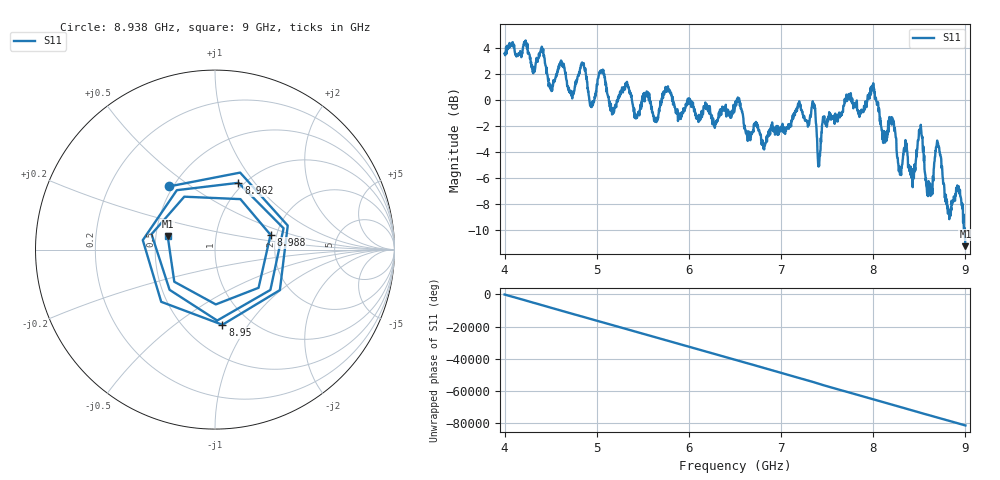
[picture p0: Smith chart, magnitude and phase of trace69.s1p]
! Created with skrf 1.8.0 (http://scikit-rf.org).
# Hz S RI R 50.0
!freq ReS11 ImS11
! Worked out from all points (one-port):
!   1601 points, 4 GHz to 9 GHz, reference 50 ohm
!   lowest |S11| = -11.2 dB at 9 GHz (marker M1), VSWR 1.76, Z = 28.9 + j4.71 ohm
!   |S11| at or under -10 dB: 8.983839 GHz to 8.985019 GHz (1.18 MHz wide, 0.0131 % of centre); 8.992115 GHz to end of sweep
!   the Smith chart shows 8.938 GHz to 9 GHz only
!   S11 on the Smith chart (normalised r, x): 8.938 GHz: 0.48, +0.41; 8.95 GHz: 0.75, -0.77; 8.962 GHz: 0.94, +0.83; 8.988 GHz: 1.86, +0.34; 9 GHz: 0.58, +0.09
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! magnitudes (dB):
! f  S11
! 4 GHz  3.6
! 4.406 GHz  4.0
! 4.503 GHz  0.7
! 4.625 GHz  2.7
! 4.725 GHz  0.3
! 5.25 GHz  0.4
! 5.875 GHz  -0.7
! 6.5 GHz  -0.5
! 6.812 GHz  -3.5
! 7.125 GHz  -1.2
! 7.35 GHz  -0.2
! 7.412 GHz  -5.1
! 7.75 GHz  0.2
! 7.997 GHz  0.9
! 8.119 GHz  -3.0
! 8.216 GHz  -1.6
! 8.284 GHz  -5.1
! 8.375 GHz  -4.4
! 8.438 GHz  -6.0
! 8.509 GHz  -2.3
! 8.603 GHz  -7.2
! 8.7 GHz  -3.5
! 8.816 GHz  -8.5
! 8.938 GHz  -7.2
! 8.95 GHz  -7.5
! 8.962 GHz  -8.1
! 8.988 GHz  -9.9
! 9 GHz  -11.2
